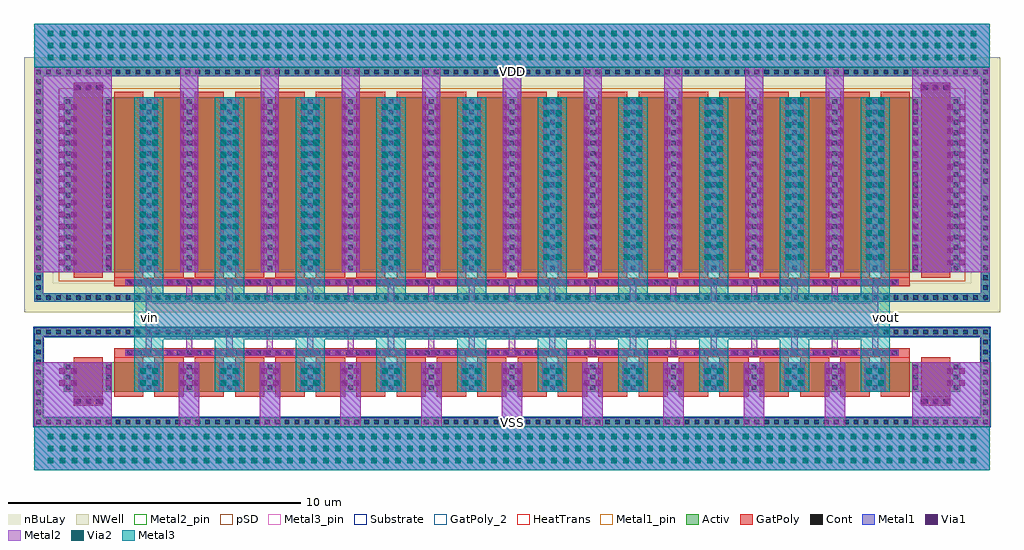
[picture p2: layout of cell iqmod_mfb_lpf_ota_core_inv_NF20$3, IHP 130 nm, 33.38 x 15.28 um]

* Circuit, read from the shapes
.subckt iqmod_mfb_lpf_ota_core_inv_NF20$3 VDD VSS vin vout
XM1 VSS VSS VSS VSS sg13_lv_nmos w=1u l=1u m=2
XM2 vout vin VSS VSS sg13_lv_nmos w=1u l=1u m=20
XM3 VDD VDD VDD VDD sg13_lv_pmos w=6u l=1u m=2
XM4 vout vin VDD VDD sg13_lv_pmos w=6u l=1u m=20
.ends

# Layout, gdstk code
import gdstk
lib = gdstk.Library(unit=1e-6, precision=1e-09)
def R(c, l, rs):  # rectangles x0, y0, x1, y1
    for r in rs: c.add(gdstk.rectangle(r[:2], r[2:], *l))
def A(c, l, x, y, w, h, nx, ny, dx, dy):  # array of equal rectangles
    R(c, l, [(x+i*dx, y+j*dy, x+i*dx+w, y+j*dy+h) for i in range(nx) for j in range(ny)])
def P(c, l, *ps):  # polygons
    for p in ps: c.add(gdstk.Polygon(p, *l))
Activ = (1, 0)
GatPoly = (5, 0)
GatPoly_2 = (5, 2)
Cont = (6, 0)
Metal1 = (8, 0)
Metal1_pin = (8, 2)
Metal2 = (10, 0)
Metal2_pin = (10, 2)
pSD = (14, 0)
Via1 = (19, 0)
Via2 = (29, 0)
Metal3 = (30, 0)
Metal3_pin = (30, 2)
NWell = (31, 0)
nBuLay = (32, 0)
Substrate = (40, 0)
HeatTrans = (51, 0)

pmos_72 = lib.new_cell('pmos$72')
A(pmos_72, Activ, 0, 0, 0.3, 0.3, 23, 1, 1.38, 0)
R(pmos_72, Activ, [(-1.01,-0.71,-0.71,6.71), (31.37,-0.71,31.67,6.71), (0,0,30.66,6), (-1.01,6.71,31.67,7.01)])
P(pmos_72, Activ, [(-1.01,-1.01),(-1.01,6.71),(-0.71,6.71),(-0.71,-0.71),(31.37,-0.71),(31.37,6.71),(-1.01,6.71),(-1.01,7.01),(31.67,7.01),(31.67,-1.01)])
A(pmos_72, GatPoly, 0.34, -0.18, 1, 6.36, 22, 1, 1.38, 0)
R(pmos_72, GatPoly, [(0.34,-0.18,1.34,6.18)])
A(pmos_72, Cont, -0.94, -0.94, 0.16, 0.16, 48, 2, 0.34, 7.72)
A(pmos_72, Cont, 15.46, -0.94, 0.16, 0.16, 48, 2, 0.34, 7.72)
A(pmos_72, Cont, -0.94, -0.6, 0.16, 0.16, 1, 10, 0, 0.34)
A(pmos_72, Cont, 31.44, -0.6, 0.16, 0.16, 1, 10, 0, 0.34)
A(pmos_72, Cont, 0.07, 0.07, 0.16, 0.16, 23, 4, 1.38, 0.355)
A(pmos_72, Cont, 0.07, 1.495, 0.16, 0.16, 23, 4, 1.38, 0.355)
A(pmos_72, Cont, 0.07, 2.92, 0.16, 0.16, 23, 4, 1.38, 0.355)
A(pmos_72, Cont, -0.94, 3.04, 0.16, 0.16, 1, 11, 0, 0.34)
A(pmos_72, Cont, 31.44, 3.04, 0.16, 0.16, 1, 11, 0, 0.34)
A(pmos_72, Cont, 0.07, 4.345, 0.16, 0.16, 23, 4, 1.38, 0.355)
A(pmos_72, Cont, 0.07, 5.77, 0.16, 0.16, 23, 1, 1.38, 0)
A(pmos_72, Metal1, 1.45, 0, 0.16, 6, 22, 1, 1.38, 0)
R(pmos_72, Metal1, [(-1.01,-1.01,31.67,-0.71), (-1.01,-0.71,-0.71,6.71), (31.37,-0.71,31.67,6.71), (0.07,0,0.23,6), (0.07,0,0.23,6), (1.45,0,1.61,6), (-1.01,6.71,31.67,7.01)])
R(pmos_72, pSD, [(-0.18,-0.3,30.84,6.3)])
R(pmos_72, NWell, [(-1.36,-1.36,32.02,7.36), (-0.31,-0.31,30.97,6.31)])
R(pmos_72, nBuLay, [(-1.36,-0.36,-0.36,6.36), (31.02,-0.36,32.02,6.36), (-1.36,6.36,32.02,7.36)])
P(pmos_72, nBuLay, [(-1.36,-1.36),(-1.36,6.36),(-0.36,6.36),(-0.36,-0.36),(31.02,-0.36),(31.02,6.36),(-1.36,6.36),(-1.36,7.36),(32.02,7.36),(32.02,-1.36)])
R(pmos_72, Substrate, [(30.36,0,30.66,0.3)])
A(pmos_72, HeatTrans, 0.34, -0.18, 1, 6.36, 22, 1, 1.38, 0)
pmos_72.add(gdstk.Label('pmos', (0.84,3), layer=63, texttype=0))
pmos_72.add(gdstk.Label('well', (15.33,-0.86), layer=63, texttype=0))
pmos_72.add(gdstk.Label('pmos', (0.84,3), layer=51, texttype=0))
pmos_72.add(gdstk.Label('pmos', (2.22,3), layer=51, texttype=0))
pmos_72.add(gdstk.Label('pmos', (3.6,3), layer=51, texttype=0))
pmos_72.add(gdstk.Label('pmos', (4.98,3), layer=51, texttype=0))
pmos_72.add(gdstk.Label('pmos', (6.36,3), layer=51, texttype=0))
pmos_72.add(gdstk.Label('pmos', (7.74,3), layer=51, texttype=0))
pmos_72.add(gdstk.Label('pmos', (9.12,3), layer=51, texttype=0))
pmos_72.add(gdstk.Label('pmos', (10.5,3), layer=51, texttype=0))
pmos_72.add(gdstk.Label('pmos', (11.88,3), layer=51, texttype=0))
pmos_72.add(gdstk.Label('pmos', (13.26,3), layer=51, texttype=0))
pmos_72.add(gdstk.Label('pmos', (14.64,3), layer=51, texttype=0))
pmos_72.add(gdstk.Label('pmos', (16.02,3), layer=51, texttype=0))
pmos_72.add(gdstk.Label('pmos', (17.4,3), layer=51, texttype=0))
pmos_72.add(gdstk.Label('pmos', (18.78,3), layer=51, texttype=0))
pmos_72.add(gdstk.Label('pmos', (20.16,3), layer=51, texttype=0))
pmos_72.add(gdstk.Label('pmos', (21.54,3), layer=51, texttype=0))
pmos_72.add(gdstk.Label('pmos', (22.92,3), layer=51, texttype=0))
pmos_72.add(gdstk.Label('pmos', (24.3,3), layer=51, texttype=0))
pmos_72.add(gdstk.Label('pmos', (25.68,3), layer=51, texttype=0))
pmos_72.add(gdstk.Label('pmos', (27.06,3), layer=51, texttype=0))
pmos_72.add(gdstk.Label('pmos', (28.44,3), layer=51, texttype=0))
pmos_72.add(gdstk.Label('pmos', (29.82,3), layer=51, texttype=0))

nmos_72 = lib.new_cell('nmos$72')
A(nmos_72, Activ, 0, 0, 0.3, 0.3, 23, 1, 1.38, 0)
R(nmos_72, Activ, [(-1.01,-0.89,-0.71,1.89), (31.37,-0.89,31.67,1.89), (0,0,30.66,1), (-1.01,1.89,31.67,2.19)])
P(nmos_72, Activ, [(-1.01,-1.19),(-1.01,1.89),(-0.71,1.89),(-0.71,-0.89),(31.37,-0.89),(31.37,1.89),(-1.01,1.89),(-1.01,2.19),(31.67,2.19),(31.67,-1.19)])
A(nmos_72, GatPoly, 0.34, -0.18, 1, 1.36, 22, 1, 1.38, 0)
R(nmos_72, GatPoly_2, [(0.34,-0.18,1.34,1.18)])
A(nmos_72, Cont, -0.94, -1.12, 0.16, 0.16, 48, 2, 0.34, 3.08)
A(nmos_72, Cont, 15.46, -1.12, 0.16, 0.16, 48, 2, 0.34, 3.08)
A(nmos_72, Cont, -0.94, -0.78, 0.16, 0.16, 1, 4, 0, 0.34)
A(nmos_72, Cont, 31.44, -0.78, 0.16, 0.16, 1, 4, 0, 0.34)
A(nmos_72, Cont, 0.07, 0.07, 0.16, 0.16, 23, 3, 1.38, 0.35)
A(nmos_72, Cont, -0.94, 0.6, 0.16, 0.16, 1, 4, 0, 0.34)
A(nmos_72, Cont, 31.44, 0.6, 0.16, 0.16, 1, 4, 0, 0.34)
A(nmos_72, Metal1, 0.07, 0, 0.16, 1, 23, 1, 1.38, 0)
R(nmos_72, Metal1, [(-1.01,-1.19,31.67,-0.89), (-1.01,-0.89,-0.71,1.89), (31.37,-0.89,31.67,1.89), (-1.01,1.89,31.67,2.19)])
R(nmos_72, Metal1_pin, [(0.07,0,0.23,1), (1.45,0,1.61,1)])
R(nmos_72, pSD, [(-1.04,-0.86,-0.68,1.86), (31.34,-0.86,31.7,1.86), (-1.04,1.86,31.7,2.22)])
P(nmos_72, pSD, [(-1.04,-1.22),(-1.04,1.86),(-0.68,1.86),(-0.68,-0.86),(31.34,-0.86),(31.34,1.86),(-1.04,1.86),(-1.04,2.22),(31.7,2.22),(31.7,-1.22)])
R(nmos_72, Substrate, [(-1.04,-0.86,-0.68,1.86), (31.34,-0.86,31.7,1.86), (-1.04,1.86,31.7,2.22)])
P(nmos_72, Substrate, [(-1.04,-1.22),(-1.04,1.86),(-0.68,1.86),(-0.68,-0.86),(31.34,-0.86),(31.34,1.86),(-1.04,1.86),(-1.04,2.22),(31.7,2.22),(31.7,-1.22)])
A(nmos_72, HeatTrans, 0.34, -0.18, 1, 1.36, 22, 1, 1.38, 0)
nmos_72.add(gdstk.Label('nmos', (0.84,0.5), layer=63, texttype=0))
nmos_72.add(gdstk.Label('sub!', (15.33,-1.04), layer=63, texttype=0))
nmos_72.add(gdstk.Label('nmos', (0.84,0.5), layer=51, texttype=0))
nmos_72.add(gdstk.Label('nmos', (2.22,0.5), layer=51, texttype=0))
nmos_72.add(gdstk.Label('nmos', (3.6,0.5), layer=51, texttype=0))
nmos_72.add(gdstk.Label('nmos', (4.98,0.5), layer=51, texttype=0))
nmos_72.add(gdstk.Label('nmos', (6.36,0.5), layer=51, texttype=0))
nmos_72.add(gdstk.Label('nmos', (7.74,0.5), layer=51, texttype=0))
nmos_72.add(gdstk.Label('nmos', (9.12,0.5), layer=51, texttype=0))
nmos_72.add(gdstk.Label('nmos', (10.5,0.5), layer=51, texttype=0))
nmos_72.add(gdstk.Label('nmos', (11.88,0.5), layer=51, texttype=0))
nmos_72.add(gdstk.Label('nmos', (13.26,0.5), layer=51, texttype=0))
nmos_72.add(gdstk.Label('nmos', (14.64,0.5), layer=51, texttype=0))
nmos_72.add(gdstk.Label('nmos', (16.02,0.5), layer=51, texttype=0))
nmos_72.add(gdstk.Label('nmos', (17.4,0.5), layer=51, texttype=0))
nmos_72.add(gdstk.Label('nmos', (18.78,0.5), layer=51, texttype=0))
nmos_72.add(gdstk.Label('nmos', (20.16,0.5), layer=51, texttype=0))
nmos_72.add(gdstk.Label('nmos', (21.54,0.5), layer=51, texttype=0))
nmos_72.add(gdstk.Label('nmos', (22.92,0.5), layer=51, texttype=0))
nmos_72.add(gdstk.Label('nmos', (24.3,0.5), layer=51, texttype=0))
nmos_72.add(gdstk.Label('nmos', (25.68,0.5), layer=51, texttype=0))
nmos_72.add(gdstk.Label('nmos', (27.06,0.5), layer=51, texttype=0))
nmos_72.add(gdstk.Label('nmos', (28.44,0.5), layer=51, texttype=0))
nmos_72.add(gdstk.Label('nmos', (29.82,0.5), layer=51, texttype=0))

via_stack_662 = lib.new_cell('via_stack$662')
R(via_stack_662, Metal1, [(-15.93,-0.515,15.93,0.515)])
R(via_stack_662, Metal2, [(-15.93,-0.51,15.93,0.51)])
A(via_stack_662, Via1, -15.88, -0.505, 0.19, 0.19, 78, 3, 0.41, 0.41)
A(via_stack_662, Via2, -15.88, -0.505, 0.19, 0.19, 78, 3, 0.41, 0.41)
R(via_stack_662, Metal3, [(-15.93,-0.51,15.93,0.51)])

via_stack_663 = lib.new_cell('via_stack$663')
R(via_stack_663, GatPoly, [(-13.24,-0.15,13.24,0.15)])
A(via_stack_663, Cont, -13.17, -0.08, 0.16, 0.16, 78, 1, 0.34, 0)
R(via_stack_663, Metal1, [(-13.22,-0.08,13.22,0.08)])

via_stack_664 = lib.new_cell('via_stack$664')
R(via_stack_664, Metal1, [(-13.06,-0.105,13.06,0.105)])
R(via_stack_664, Metal2, [(-13.06,-0.1,13.06,0.1)])
A(via_stack_664, Via1, -13.01, -0.095, 0.19, 0.19, 64, 1, 0.41, 0)

via_stack_665 = lib.new_cell('via_stack$665')
R(via_stack_665, Metal1, [(-0.35,-0.31,0.35,0.31)])
R(via_stack_665, Metal2, [(-0.35,-0.305,0.35,0.305)])
R(via_stack_665, Via1, [(-0.3,-0.3,-0.11,-0.11), (0.11,-0.3,0.3,-0.11), (-0.3,0.11,-0.11,0.3), (0.11,0.11,0.3,0.3)])

via_stack_666 = lib.new_cell('via_stack$666')
R(via_stack_666, Metal1, [(-0.31,-2.81,0.31,2.81)])
R(via_stack_666, Metal2, [(-0.305,-2.81,0.305,2.81)])
A(via_stack_666, Via1, -0.3, -2.76, 0.19, 0.19, 1, 14, 0, 0.41)
A(via_stack_666, Via1, 0.11, -2.76, 0.19, 0.19, 1, 14, 0, 0.41)
A(via_stack_666, Via2, -0.3, -2.76, 0.19, 0.19, 1, 14, 0, 0.41)
A(via_stack_666, Via2, 0.11, -2.76, 0.19, 0.19, 1, 14, 0, 0.41)
R(via_stack_666, Metal3, [(-0.305,-2.81,0.305,2.81)])

via_stack_667 = lib.new_cell('via_stack$667')
R(via_stack_667, Metal1, [(-0.35,-0.31,0.35,0.31)])
R(via_stack_667, Metal2, [(-0.35,-0.305,0.35,0.305)])
R(via_stack_667, Via1, [(-0.3,-0.3,-0.11,-0.11), (0.11,-0.3,0.3,-0.11), (-0.3,0.11,-0.11,0.3), (0.11,0.11,0.3,0.3)])
R(via_stack_667, Via2, [(-0.3,-0.3,-0.11,-0.11), (0.11,-0.3,0.3,-0.11), (-0.3,0.11,-0.11,0.3), (0.11,0.11,0.3,0.3)])
R(via_stack_667, Metal3, [(-0.35,-0.305,0.35,0.305)])

via_stack_668 = lib.new_cell('via_stack$668')
R(via_stack_668, Metal1, [(-0.105,-0.35,0.105,0.35)])
R(via_stack_668, Metal2, [(-0.1,-0.35,0.1,0.35)])
R(via_stack_668, Via1, [(-0.095,-0.3,0.095,-0.11), (-0.095,0.11,0.095,0.3)])

via_stack_669 = lib.new_cell('via_stack$669')
R(via_stack_669, Metal1, [(-0.31,-2.81,0.31,2.81)])
R(via_stack_669, Metal2, [(-0.305,-2.81,0.305,2.81)])
A(via_stack_669, Via1, -0.3, -2.76, 0.19, 0.19, 1, 14, 0, 0.41)
A(via_stack_669, Via1, 0.11, -2.76, 0.19, 0.19, 1, 14, 0, 0.41)

via_stack_670 = lib.new_cell('via_stack$670')
R(via_stack_670, Metal1, [(-0.105,-2.81,0.105,2.81)])
R(via_stack_670, Metal2, [(-0.1,-2.81,0.1,2.81)])
A(via_stack_670, Via1, -0.095, -2.76, 0.19, 0.19, 1, 14, 0, 0.41)

via_stack_671 = lib.new_cell('via_stack$671')
R(via_stack_671, GatPoly, [(-0.49,-0.15,0.49,0.15)])
A(via_stack_671, Cont, -0.42, -0.08, 0.16, 0.16, 3, 1, 0.34, 0)
R(via_stack_671, Metal1, [(-0.555,-0.105,0.555,0.105)])
R(via_stack_671, Metal2, [(-0.555,-0.1,0.555,0.1)])
A(via_stack_671, Via1, -0.505, -0.095, 0.19, 0.19, 3, 1, 0.41, 0)

iqmod_mfb_lpf_ota_core_i = lib.new_cell('iqmod_mfb_lpf_ota_core_inv_NF20$3')
R(iqmod_mfb_lpf_ota_core_i, GatPoly, [(1.7,2.21,2.7,2.51), (30.68,2.21,31.68,2.51), (3.08,3.87,30.3,4.17), (3.08,6.29,30.3,6.59), (1.7,12.95,2.7,13.25), (30.68,12.95,31.68,13.25)])
A(iqmod_mfb_lpf_ota_core_i, Metal1, 5.3, 1.5, 0.7, 2.19, 9, 1, 2.76, 0)
A(iqmod_mfb_lpf_ota_core_i, Metal1, 3.92, 2.69, 0.7, 1, 19, 1, 1.38, 0)
A(iqmod_mfb_lpf_ota_core_i, Metal1, 3.96, 6.77, 0.62, 6, 19, 1, 1.38, 0)
A(iqmod_mfb_lpf_ota_core_i, Metal1, 5.34, 6.77, 0.62, 7.01, 9, 1, 2.76, 0)
R(iqmod_mfb_lpf_ota_core_i, Metal1, [(0.35,0,33.03,1.5), (0.35,1.5,2.995,3.69), (16.44,1.5,16.94,1.8), (30.385,1.5,33.03,3.69), (1.645,2.21,2.755,2.51), (30.625,2.21,31.735,2.51), (1.16,2.69,1.86,3.69), (31.52,2.69,32.22,3.69), (3.47,3.915,29.91,4.125), (3.47,6.335,29.91,6.545), (0.35,6.77,2.995,13.78), (1.2,6.77,1.82,12.77), (2.785,6.77,2.995,12.77), (30.385,6.77,33.03,13.78), (30.385,6.77,30.595,12.77), (31.56,6.77,32.18,12.77), (1.645,12.95,2.755,13.25), (30.625,12.95,31.735,13.25), (16.44,13.48,16.94,13.78), (0.35,13.78,33.03,15.28)])
R(iqmod_mfb_lpf_ota_core_i, Metal1_pin, [(16.565,1.525,16.815,1.775), (16.565,13.505,16.815,13.755)])
A(iqmod_mfb_lpf_ota_core_i, Metal2, 5.3, 1.5, 0.7, 2.19, 9, 1, 2.76, 0)
A(iqmod_mfb_lpf_ota_core_i, Metal2, 3.92, 2.69, 0.7, 1, 19, 1, 1.38, 0)
A(iqmod_mfb_lpf_ota_core_i, Metal2, 4.165, 4.12, 0.21, 2.22, 19, 1, 1.38, 0)
A(iqmod_mfb_lpf_ota_core_i, Metal2, 3.96, 6.77, 0.62, 6, 19, 1, 1.38, 0)
A(iqmod_mfb_lpf_ota_core_i, Metal2, 5.34, 6.77, 0.62, 7.01, 9, 1, 2.76, 0)
R(iqmod_mfb_lpf_ota_core_i, Metal2, [(0.35,0,33.03,1.5), (0.35,1.5,2.995,3.69), (30.385,1.5,33.03,3.69), (1.645,2.21,2.755,2.51), (30.625,2.21,31.735,2.51), (1.16,2.69,1.86,3.69), (31.52,2.69,32.22,3.69), (3.47,3.915,29.91,4.125), (4.165,4.73,29.215,5.73), (3.47,6.335,29.91,6.545), (0.35,6.77,2.995,13.78), (1.2,6.77,1.82,12.77), (2.785,6.77,2.995,12.77), (30.385,6.77,33.03,13.78), (30.385,6.77,30.595,12.77), (31.56,6.77,32.18,12.77), (1.645,12.95,2.755,13.25), (30.625,12.95,31.735,13.25), (0.35,13.78,33.03,15.28)])
R(iqmod_mfb_lpf_ota_core_i, Metal2_pin, [(4.165,5.105,4.415,5.355)])
A(iqmod_mfb_lpf_ota_core_i, Metal3, 3.77, 2.69, 1, 10.08, 10, 1, 2.76, 0)
R(iqmod_mfb_lpf_ota_core_i, Metal3, [(0.35,0,33.03,1.5), (3.77,4.48,29.61,5.98), (17.57,4.48,29.61,5.98), (0.35,13.78,33.03,15.28)])
R(iqmod_mfb_lpf_ota_core_i, Metal3_pin, [(29.36,5.105,29.61,5.355)])
iqmod_mfb_lpf_ota_core_i.add(gdstk.Reference(pmos_72, (1.36,6.77)))
iqmod_mfb_lpf_ota_core_i.add(gdstk.Reference(nmos_72, (1.36,2.69)))
iqmod_mfb_lpf_ota_core_i.add(gdstk.Reference(via_stack_662, (16.69,14.53)))
iqmod_mfb_lpf_ota_core_i.add(gdstk.Reference(via_stack_663, (16.69,6.44)))
iqmod_mfb_lpf_ota_core_i.add(gdstk.Reference(via_stack_664, (16.69,6.44)))
iqmod_mfb_lpf_ota_core_i.add(gdstk.Reference(via_stack_665, (11.17,3.19)))
iqmod_mfb_lpf_ota_core_i.add(gdstk.Reference(via_stack_666, (4.27,9.77)))
iqmod_mfb_lpf_ota_core_i.add(gdstk.Reference(via_stack_663, (16.69,4.02)))
iqmod_mfb_lpf_ota_core_i.add(gdstk.Reference(via_stack_667, (4.27,3.19)))
iqmod_mfb_lpf_ota_core_i.add(gdstk.Reference(via_stack_667, (7.03,3.19)))
iqmod_mfb_lpf_ota_core_i.add(gdstk.Reference(via_stack_665, (31.87,3.19)))
iqmod_mfb_lpf_ota_core_i.add(gdstk.Reference(via_stack_665, (8.41,3.19)))
iqmod_mfb_lpf_ota_core_i.add(gdstk.Reference(via_stack_665, (5.65,3.19)))
iqmod_mfb_lpf_ota_core_i.add(gdstk.Reference(via_stack_668, (30.49,3.19)))
iqmod_mfb_lpf_ota_core_i.add(gdstk.Reference(via_stack_665, (1.51,3.19)))
iqmod_mfb_lpf_ota_core_i.add(gdstk.Reference(via_stack_667, (9.79,3.19)))
iqmod_mfb_lpf_ota_core_i.add(gdstk.Reference(via_stack_668, (2.89,3.19)))
iqmod_mfb_lpf_ota_core_i.add(gdstk.Reference(via_stack_669, (31.87,9.77)))
iqmod_mfb_lpf_ota_core_i.add(gdstk.Reference(via_stack_666, (9.79,9.77)))
iqmod_mfb_lpf_ota_core_i.add(gdstk.Reference(via_stack_670, (30.49,9.77)))
iqmod_mfb_lpf_ota_core_i.add(gdstk.Reference(via_stack_670, (2.89,9.77)))
iqmod_mfb_lpf_ota_core_i.add(gdstk.Reference(via_stack_669, (1.51,9.77)))
iqmod_mfb_lpf_ota_core_i.add(gdstk.Reference(via_stack_666, (7.03,9.77)))
iqmod_mfb_lpf_ota_core_i.add(gdstk.Reference(via_stack_669, (5.65,9.77)))
iqmod_mfb_lpf_ota_core_i.add(gdstk.Reference(via_stack_669, (8.41,9.77)))
iqmod_mfb_lpf_ota_core_i.add(gdstk.Reference(via_stack_671, (2.2,2.36)))
iqmod_mfb_lpf_ota_core_i.add(gdstk.Reference(via_stack_671, (31.18,2.36)))
iqmod_mfb_lpf_ota_core_i.add(gdstk.Reference(via_stack_671, (2.2,13.1)))
iqmod_mfb_lpf_ota_core_i.add(gdstk.Reference(via_stack_671, (31.18,13.1)))
iqmod_mfb_lpf_ota_core_i.add(gdstk.Reference(via_stack_666, (12.55,9.77)))
iqmod_mfb_lpf_ota_core_i.add(gdstk.Reference(via_stack_664, (16.69,4.02)))
iqmod_mfb_lpf_ota_core_i.add(gdstk.Reference(via_stack_667, (12.55,3.19)))
iqmod_mfb_lpf_ota_core_i.add(gdstk.Reference(via_stack_667, (15.31,3.19)))
iqmod_mfb_lpf_ota_core_i.add(gdstk.Reference(via_stack_665, (13.93,3.19)))
iqmod_mfb_lpf_ota_core_i.add(gdstk.Reference(via_stack_666, (15.31,9.77)))
iqmod_mfb_lpf_ota_core_i.add(gdstk.Reference(via_stack_669, (11.17,9.77)))
iqmod_mfb_lpf_ota_core_i.add(gdstk.Reference(via_stack_669, (13.93,9.77)))
iqmod_mfb_lpf_ota_core_i.add(gdstk.Reference(via_stack_669, (19.45,9.77)))
iqmod_mfb_lpf_ota_core_i.add(gdstk.Reference(via_stack_665, (22.21,3.19)))
iqmod_mfb_lpf_ota_core_i.add(gdstk.Reference(via_stack_666, (18.07,9.96)))
iqmod_mfb_lpf_ota_core_i.add(gdstk.Reference(via_stack_667, (29.11,3.19)))
iqmod_mfb_lpf_ota_core_i.add(gdstk.Reference(via_stack_667, (18.07,3.19)))
iqmod_mfb_lpf_ota_core_i.add(gdstk.Reference(via_stack_665, (19.45,3.19)))
iqmod_mfb_lpf_ota_core_i.add(gdstk.Reference(via_stack_665, (16.69,3.19)))
iqmod_mfb_lpf_ota_core_i.add(gdstk.Reference(via_stack_667, (20.83,3.19)))
iqmod_mfb_lpf_ota_core_i.add(gdstk.Reference(via_stack_666, (23.59,9.96)))
iqmod_mfb_lpf_ota_core_i.add(gdstk.Reference(via_stack_666, (20.83,9.96)))
iqmod_mfb_lpf_ota_core_i.add(gdstk.Reference(via_stack_669, (16.69,9.77)))
iqmod_mfb_lpf_ota_core_i.add(gdstk.Reference(via_stack_666, (26.35,9.96)))
iqmod_mfb_lpf_ota_core_i.add(gdstk.Reference(via_stack_667, (23.59,3.19)))
iqmod_mfb_lpf_ota_core_i.add(gdstk.Reference(via_stack_669, (24.97,9.77)))
iqmod_mfb_lpf_ota_core_i.add(gdstk.Reference(via_stack_665, (27.73,3.19)))
iqmod_mfb_lpf_ota_core_i.add(gdstk.Reference(via_stack_667, (26.35,3.19)))
iqmod_mfb_lpf_ota_core_i.add(gdstk.Reference(via_stack_665, (24.97,3.19)))
iqmod_mfb_lpf_ota_core_i.add(gdstk.Reference(via_stack_666, (29.11,9.96)))
iqmod_mfb_lpf_ota_core_i.add(gdstk.Reference(via_stack_669, (22.21,9.77)))
iqmod_mfb_lpf_ota_core_i.add(gdstk.Reference(via_stack_669, (27.73,9.77)))
iqmod_mfb_lpf_ota_core_i.add(gdstk.Reference(via_stack_662, (16.69,0.75)))
iqmod_mfb_lpf_ota_core_i.add(gdstk.Label('vin', (4.29,5.23), layer=10, texttype=25))
iqmod_mfb_lpf_ota_core_i.add(gdstk.Label('VSS', (16.69,1.65), layer=8, texttype=25))
iqmod_mfb_lpf_ota_core_i.add(gdstk.Label('VDD', (16.69,13.63), layer=8, texttype=25))
iqmod_mfb_lpf_ota_core_i.add(gdstk.Label('vout', (29.485,5.23), layer=30, texttype=25))

lib.write_gds('iqmod_mfb_lpf_ota_core_inv_NF20_3.gds')
